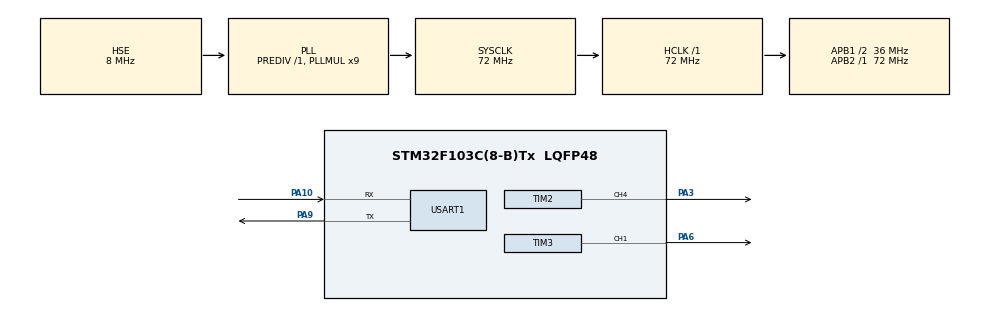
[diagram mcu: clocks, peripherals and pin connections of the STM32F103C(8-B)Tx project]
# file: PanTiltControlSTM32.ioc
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Mcu.Family=STM32F1
Mcu.Name=STM32F103C(8-B)Tx
Mcu.Package=LQFP48
NVIC.PriorityGroup=NVIC_PRIORITYGROUP_4
PA10.Mode=Asynchronous
PA10.Signal=USART1_RX
PA13.Mode=Serial_Wire
PA13.Signal=SYS_JTMS-SWDIO
PA14.Mode=Serial_Wire
PA14.Signal=SYS_JTCK-SWCLK
PA3.Signal=S_TIM2_CH4
PA6.Signal=S_TIM3_CH1
PA9.Mode=Asynchronous
PA9.Signal=USART1_TX
PD0-OSC_IN.Mode=HSE-External-Oscillator
PD0-OSC_IN.Signal=RCC_OSC_IN
PD1-OSC_OUT.Mode=HSE-External-Oscillator
PD1-OSC_OUT.Signal=RCC_OSC_OUT
ProjectManager.HeapSize=0x200
ProjectManager.StackSize=0x400
ProjectManager.TargetToolchain=STM32CubeIDE
RCC.AHBFreq_Value=72000000
RCC.APB1CLKDivider=RCC_HCLK_DIV2
RCC.APB1Freq_Value=36000000
RCC.APB1TimFreq_Value=72000000
RCC.APB2Freq_Value=72000000
RCC.APB2TimFreq_Value=72000000
RCC.HCLKFreq_Value=72000000
RCC.PLLMUL=RCC_PLL_MUL9
RCC.PLLSourceVirtual=RCC_PLLSOURCE_HSE
RCC.SYSCLKFreq_VALUE=72000000
RCC.SYSCLKSource=RCC_SYSCLKSOURCE_PLLCLK
RCC.USBFreq_Value=72000000
SH.S_TIM2_CH4.0=TIM2_CH4,PWM Generation4 CH4
SH.S_TIM3_CH1.0=TIM3_CH1,PWM Generation1 CH1
TIM2.Channel-PWM\ Generation4\ CH4=TIM_CHANNEL_4
TIM2.Period=10000-1
TIM2.Prescaler=144-1
TIM3.Channel-PWM\ Generation1\ CH1=TIM_CHANNEL_1
TIM3.Period=10000-1
TIM3.Prescaler=144-1
USART1.VirtualMode=VM_ASYNC
VP_TIM2_VS_ClockSourceINT.Mode=Internal
VP_TIM3_VS_ClockSourceINT.Mode=Internal
board=custom

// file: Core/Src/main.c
/* USER CODE BEGIN Header */
/**
  ******************************************************************************
  * @file           : main.c
  * @brief          : Main program body
  ******************************************************************************
  * @attention
  *
  * Copyright (c) 2025 STMicroelectronics.
  * All rights reserved.
  *
  * This software is licensed under terms that can be found in the LICENSE file
  * in the root directory of this software component.
  * If no LICENSE file comes with this software, it is provided AS-IS.
  *
  ******************************************************************************
  */
/* USER CODE END Header */
#include "main.h"

TIM_HandleTypeDef htim2;
TIM_HandleTypeDef htim3;

UART_HandleTypeDef huart1;

void SystemClock_Config(void);
static void MX_GPIO_Init(void);
static void MX_TIM2_Init(void);
static void MX_USART1_UART_Init(void);
static void MX_TIM3_Init(void);

/* USER CODE BEGIN 0 */
void SetAngleServoX(TIM_HandleTypeDef *htim, uint32_t channel, uint8_t angle)
{
	uint32_t pulseLength = 210+(angle*(1050-210)/180);
	__HAL_TIM_SET_COMPARE(htim,channel,pulseLength);
}

void SetAngleServoY(TIM_HandleTypeDef *htim, uint32_t channel, uint8_t angle)
{
	uint32_t pulseLength = 210+(angle*(1050-210)/180);
	__HAL_TIM_SET_COMPARE(htim,channel,pulseLength);
}

uint8_t rx_data;
uint8_t angleX = 90;
uint8_t angleY = 90;
/* USER CODE END 0 */

int main(void)
{

  /* MCU Configuration--------------------------------------------------------*/

  /* Reset of all peripherals, Initializes the Flash interface and the Systick. */
  HAL_Init();

  /* Configure the system clock */
  SystemClock_Config();

  /* Initialize all configured peripherals */
  MX_GPIO_Init();
  MX_TIM2_Init();
  MX_USART1_UART_Init();
  MX_TIM3_Init();
  /* USER CODE BEGIN 2 */
HAL_TIM_PWM_Start(&htim2,TIM_CHANNEL_4);
HAL_TIM_PWM_Start(&htim3,TIM_CHANNEL_1);
  /* USER CODE END 2 */

  /* Infinite loop */
  /* USER CODE BEGIN WHILE */
  while (1)
  {

	  HAL_UART_Receive(&huart1, &rx_data, 1, HAL_MAX_DELAY);

	  switch(rx_data)
	  {
	  	case 'w':
	  		if(angleY < 180) angleY += 5;
	  		SetAngleServoX(&htim3, TIM_CHANNEL_1, angleY); // yukarı
	  		break;

	  	case 's':
	  		if(angleY > 0) angleY -= 5;
	  		SetAngleServoX(&htim3, TIM_CHANNEL_1, angleY); // aşağı
	  		break;

	  	case 'a':
	  		if(angleX < 180) angleX += 5;
	  		SetAngleServoY(&htim2, TIM_CHANNEL_4, angleX); // sola
	  		break;

	  	case 'd':
	  		if(angleX > 0) angleX -= 5;
	  		SetAngleServoY(&htim2, TIM_CHANNEL_4, angleX); // sağa
	  		break;

	  	default:
	  		break;
	  }

    /* USER CODE END WHILE */

  }
}

void SystemClock_Config(void)
{
  RCC_OscInitTypeDef RCC_OscInitStruct = {0};
  RCC_ClkInitTypeDef RCC_ClkInitStruct = {0};

  /** Initializes the RCC Oscillators according to the specified parameters
  * in the RCC_OscInitTypeDef structure.
  */
  RCC_OscInitStruct.OscillatorType = RCC_OSCILLATORTYPE_HSE;
  RCC_OscInitStruct.HSEState = RCC_HSE_ON;
  RCC_OscInitStruct.HSEPredivValue = RCC_HSE_PREDIV_DIV1;
  RCC_OscInitStruct.HSIState = RCC_HSI_ON;
  RCC_OscInitStruct.PLL.PLLState = RCC_PLL_ON;
  RCC_OscInitStruct.PLL.PLLSource = RCC_PLLSOURCE_HSE;
  RCC_OscInitStruct.PLL.PLLMUL = RCC_PLL_MUL9;
  if (HAL_RCC_OscConfig(&RCC_OscInitStruct) != HAL_OK)
  {
    Error_Handler();
  }

  /** Initializes the CPU, AHB and APB buses clocks
  */
  RCC_ClkInitStruct.ClockType = RCC_CLOCKTYPE_HCLK|RCC_CLOCKTYPE_SYSCLK
                              |RCC_CLOCKTYPE_PCLK1|RCC_CLOCKTYPE_PCLK2;
  RCC_ClkInitStruct.SYSCLKSource = RCC_SYSCLKSOURCE_PLLCLK;
  RCC_ClkInitStruct.AHBCLKDivider = RCC_SYSCLK_DIV1;
  RCC_ClkInitStruct.APB1CLKDivider = RCC_HCLK_DIV2;
  RCC_ClkInitStruct.APB2CLKDivider = RCC_HCLK_DIV1;

  if (HAL_RCC_ClockConfig(&RCC_ClkInitStruct, FLASH_LATENCY_2) != HAL_OK)
  {
    Error_Handler();
  }
}

static void MX_TIM2_Init(void)
{

  TIM_ClockConfigTypeDef sClockSourceConfig = {0};
  TIM_MasterConfigTypeDef sMasterConfig = {0};
  TIM_OC_InitTypeDef sConfigOC = {0};

  htim2.Instance = TIM2;
  htim2.Init.Prescaler = 144-1;
  htim2.Init.CounterMode = TIM_COUNTERMODE_UP;
  htim2.Init.Period = 10000-1;
  htim2.Init.ClockDivision = TIM_CLOCKDIVISION_DIV1;
  htim2.Init.AutoReloadPreload = TIM_AUTORELOAD_PRELOAD_DISABLE;
  if (HAL_TIM_Base_Init(&htim2) != HAL_OK)
  {
    Error_Handler();
  }
  sClockSourceConfig.ClockSource = TIM_CLOCKSOURCE_INTERNAL;
  if (HAL_TIM_ConfigClockSource(&htim2, &sClockSourceConfig) != HAL_OK)
  {
    Error_Handler();
  }
  if (HAL_TIM_PWM_Init(&htim2) != HAL_OK)
  {
    Error_Handler();
  }
  sMasterConfig.MasterOutputTrigger = TIM_TRGO_RESET;
  sMasterConfig.MasterSlaveMode = TIM_MASTERSLAVEMODE_DISABLE;
  if (HAL_TIMEx_MasterConfigSynchronization(&htim2, &sMasterConfig) != HAL_OK)
  {
    Error_Handler();
  }
  sConfigOC.OCMode = TIM_OCMODE_PWM1;
  sConfigOC.Pulse = 0;
  sConfigOC.OCPolarity = TIM_OCPOLARITY_HIGH;
  sConfigOC.OCFastMode = TIM_OCFAST_DISABLE;
  if (HAL_TIM_PWM_ConfigChannel(&htim2, &sConfigOC, TIM_CHANNEL_4) != HAL_OK)
  {
    Error_Handler();
  }
  HAL_TIM_MspPostInit(&htim2);

}

static void MX_TIM3_Init(void)
{

  TIM_ClockConfigTypeDef sClockSourceConfig = {0};
  TIM_MasterConfigTypeDef sMasterConfig = {0};
  TIM_OC_InitTypeDef sConfigOC = {0};

  htim3.Instance = TIM3;
  htim3.Init.Prescaler = 144-1;
  htim3.Init.CounterMode = TIM_COUNTERMODE_UP;
  htim3.Init.Period = 10000-1;
  htim3.Init.ClockDivision = TIM_CLOCKDIVISION_DIV1;
  htim3.Init.AutoReloadPreload = TIM_AUTORELOAD_PRELOAD_DISABLE;
  if (HAL_TIM_Base_Init(&htim3) != HAL_OK)
  {
    Error_Handler();
  }
  sClockSourceConfig.ClockSource = TIM_CLOCKSOURCE_INTERNAL;
  if (HAL_TIM_ConfigClockSource(&htim3, &sClockSourceConfig) != HAL_OK)
  {
    Error_Handler();
  }
  if (HAL_TIM_PWM_Init(&htim3) != HAL_OK)
  {
    Error_Handler();
  }
  sMasterConfig.MasterOutputTrigger = TIM_TRGO_RESET;
  sMasterConfig.MasterSlaveMode = TIM_MASTERSLAVEMODE_DISABLE;
  if (HAL_TIMEx_MasterConfigSynchronization(&htim3, &sMasterConfig) != HAL_OK)
  {
    Error_Handler();
  }
  sConfigOC.OCMode = TIM_OCMODE_PWM1;
  sConfigOC.Pulse = 0;
  sConfigOC.OCPolarity = TIM_OCPOLARITY_HIGH;
  sConfigOC.OCFastMode = TIM_OCFAST_DISABLE;
  if (HAL_TIM_PWM_ConfigChannel(&htim3, &sConfigOC, TIM_CHANNEL_1) != HAL_OK)
  {
    Error_Handler();
  }
  HAL_TIM_MspPostInit(&htim3);

}

static void MX_USART1_UART_Init(void)
{

  huart1.Instance = USART1;
  huart1.Init.BaudRate = 115200;
  huart1.Init.WordLength = UART_WORDLENGTH_8B;
  huart1.Init.StopBits = UART_STOPBITS_1;
  huart1.Init.Parity = UART_PARITY_NONE;
  huart1.Init.Mode = UART_MODE_TX_RX;
  huart1.Init.HwFlowCtl = UART_HWCONTROL_NONE;
  huart1.Init.OverSampling = UART_OVERSAMPLING_16;
  if (HAL_UART_Init(&huart1) != HAL_OK)
  {
    Error_Handler();
  }

}

static void MX_GPIO_Init(void)
{

  /* GPIO Ports Clock Enable */
  __HAL_RCC_GPIOD_CLK_ENABLE();
  __HAL_RCC_GPIOA_CLK_ENABLE();

}

void Error_Handler(void)
{
  __disable_irq();
  while (1)
  {
  }
}
